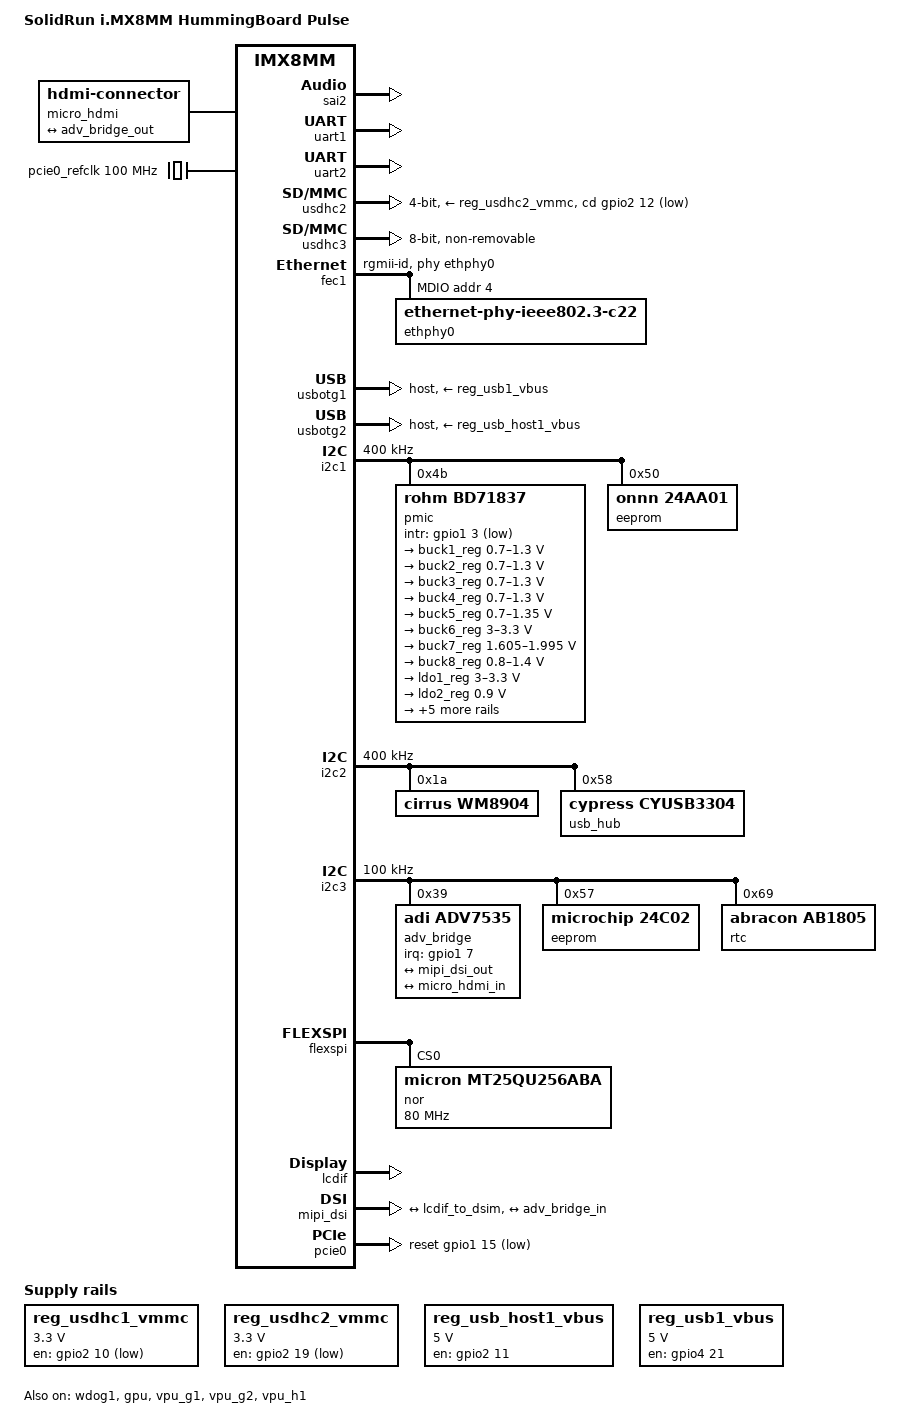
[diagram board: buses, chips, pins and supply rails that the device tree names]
// SPDX-License-Identifier: (GPL-2.0 OR MIT)
/*
 * Copyright (C) 2020 Josua Mayer <josua@solid-run.com>
 */

/dts-v1/;

#include "imx8mm.dtsi"

/ {
	model = "SolidRun i.MX8MM HummingBoard Pulse";
	compatible = "solidrun,hummingboard-pulse", "fsl,imx8mm";

	chosen {
		stdout-path = &uart2;
	};

	micro_hdmi: micro-hdmi {
		compatible = "hdmi-connector";
		type = "d";

		port@0 {
			micro_hdmi_in: endpoint {
				remote-endpoint = <&adv_bridge_out>;
			};
		};
	};

	pcie0_refclk: pcie0-refclk {
		compatible = "fixed-clock";
		#clock-cells = <0>;
		clock-frequency = <100000000>;
	};

	reg_usdhc1_vmmc: regulator-usdhc1-vmmc {
		compatible = "regulator-fixed";
		pinctrl-names = "default";
		pinctrl-0 = <&pinctrl_usdhc1_vmmc>;
		regulator-name = "usdhc1-vmmc";
		regulator-min-microvolt = <3300000>;
		regulator-max-microvolt = <3300000>;
		gpio = <&gpio2 10 GPIO_ACTIVE_LOW>;
		startup-delay-us = <100>;
		off-on-delay = <20000>;
	};

	reg_usdhc2_vmmc: regulator-usdhc2-vmmc {
		compatible = "regulator-fixed";
		pinctrl-names = "default";
		pinctrl-0 = <&pinctrl_usdhc2_vmmc>;
		regulator-name = "usdhc2-vmmc";
		regulator-min-microvolt = <3300000>;
		regulator-max-microvolt = <3300000>;
		gpio = <&gpio2 19 GPIO_ACTIVE_LOW>;
		off-on-delay = <20000>;
	};

	reg_usb_host1_vbus: reg-usb-host1-vbus {
		compatible = "regulator-fixed";
		regulator-name = "usb-host1-vbus";
		gpio = <&gpio2 11 GPIO_ACTIVE_HIGH>;
		enable-active-high;
		regulator-boot-on;
		pinctrl-names = "default";
		pinctrl-0 = <&pinctrl_usb_host1_vbus>;
		regulator-min-microvolt = <5000000>;
		regulator-max-microvolt = <5000000>;
	};

	reg_usb1_vbus: reg-usb1-vbus {
		compatible = "regulator-fixed";
		regulator-name = "usb1-vbus";
		gpio = <&gpio4 21 GPIO_ACTIVE_HIGH>;
		enable-active-high;
		regulator-boot-on;
		pinctrl-names = "default";
		pinctrl-0 = <&pinctrl_usb1_vbus>;
		regulator-min-microvolt = <5000000>;
		regulator-max-microvolt = <5000000>;
	};

	reserved-memory {
		#address-cells = <2>;
		#size-cells = <2>;
		ranges;

		rpmsg_reserved: rpmsg@0xb8000000 {
			no-map;
			reg = <0 0xb8000000 0 0x400000>;
		};
	};

	sound-wm8904 {
		compatible = "simple-audio-card";
		simple-audio-card,name = "wm8904-audio";
		simple-audio-card,format = "i2s";
		simple-audio-card,frame-master = <&sound_wm8904_cpu>;
		simple-audio-card,bitclock-master = <&sound_wm8904_cpu>;
		simple-audio-card,widgets =
			"Headphone", "Headphone Jack",
			"Microphone", "Headphone Jack";
		simple-audio-card,routing =
			"Headphone Jack", "HPOUTL",
			"Headphone Jack", "HPOUTR",
			"Headphone Jack", "MICBIAS",
			"IN2R", "Headphone Jack";

		sound_wm8904_cpu: simple-audio-card,cpu {
			sound-dai = <&sai2>;
			dai-tdm-slot-num = <2>;
			dai-tdm-slot-width = <16>;
		};

		sound_wm8904_codec: simple-audio-card,codec {
			sound-dai = <&wm8904>;
		};
	};
};

&iomuxc {
	pinctrl_wdog: wdoggrp {
		fsl,pins = <
			MX8MM_IOMUXC_GPIO1_IO02_WDOG1_WDOG_B		0xc6
		>;
	};

	pinctrl_uart1: uart1grp {
		fsl,pins = <
			MX8MM_IOMUXC_UART1_RXD_UART1_DCE_RX	0x140
			MX8MM_IOMUXC_UART1_TXD_UART1_DCE_TX	0x140
			MX8MM_IOMUXC_UART3_RXD_UART1_DCE_CTS_B	0x140
			MX8MM_IOMUXC_UART3_TXD_UART1_DCE_RTS_B	0x140
		>;
	};

	pinctrl_uart2: uart2grp {
		fsl,pins = <
			MX8MM_IOMUXC_UART2_RXD_UART2_DCE_RX	0x140
			MX8MM_IOMUXC_UART2_TXD_UART2_DCE_TX	0x140
		>;
	};

	pinctrl_usdhc1_vmmc: usdhc1vmmcgrp {
		fsl,pins = <
			MX8MM_IOMUXC_SD1_RESET_B_GPIO2_IO10	0x41
		>;
	};

	pinctrl_usdhc1: usdhc1grp {
		fsl,pins = <
			MX8MM_IOMUXC_SD1_CLK_USDHC1_CLK		0x190
			MX8MM_IOMUXC_SD1_CMD_USDHC1_CMD		0x1d0
			MX8MM_IOMUXC_SD1_DATA0_USDHC1_DATA0	0x1d0
			MX8MM_IOMUXC_SD1_DATA1_USDHC1_DATA1	0x1d0
			MX8MM_IOMUXC_SD1_DATA2_USDHC1_DATA2	0x1d0
			MX8MM_IOMUXC_SD1_DATA3_USDHC1_DATA3	0x1d0
		>;
	};

	pinctrl_usdhc1_100mhz: usdhc1100mhzgrp {
		fsl,pins = <
			MX8MM_IOMUXC_SD1_CLK_USDHC1_CLK		0x194
			MX8MM_IOMUXC_SD1_CMD_USDHC1_CMD		0x1d4
			MX8MM_IOMUXC_SD1_DATA0_USDHC1_DATA0	0x1d4
			MX8MM_IOMUXC_SD1_DATA1_USDHC1_DATA1	0x1d4
			MX8MM_IOMUXC_SD1_DATA2_USDHC1_DATA2	0x1d4
			MX8MM_IOMUXC_SD1_DATA3_USDHC1_DATA3	0x1d4
		>;
	};

	pinctrl_usdhc1_200mhz: usdhc1200mhzgrp {
		fsl,pins = <
			MX8MM_IOMUXC_SD1_CLK_USDHC1_CLK		0x196
			MX8MM_IOMUXC_SD1_CMD_USDHC1_CMD		0x1d6
			MX8MM_IOMUXC_SD1_DATA0_USDHC1_DATA0	0x1d6
			MX8MM_IOMUXC_SD1_DATA1_USDHC1_DATA1	0x1d6
			MX8MM_IOMUXC_SD1_DATA2_USDHC1_DATA2	0x1d6
			MX8MM_IOMUXC_SD1_DATA3_USDHC1_DATA3	0x1d6
		>;
	};

	pinctrl_usdhc2_cd: usdhc2cdgrp {
		fsl,pins = <
			MX8MM_IOMUXC_SD2_CD_B_GPIO2_IO12	0x1c4
		>;
	};

	pinctrl_usdhc2_vmmc: usdhc2vmmcgrp {
		fsl,pins = <
			MX8MM_IOMUXC_SD2_RESET_B_GPIO2_IO19	0x41
		>;
	};

	pinctrl_usdhc2: usdhc2grp {
		fsl,pins = <
			MX8MM_IOMUXC_SD2_CLK_USDHC2_CLK		0x190
			MX8MM_IOMUXC_SD2_CMD_USDHC2_CMD		0x1d0
			MX8MM_IOMUXC_SD2_DATA0_USDHC2_DATA0	0x1d0
			MX8MM_IOMUXC_SD2_DATA1_USDHC2_DATA1	0x1d0
			MX8MM_IOMUXC_SD2_DATA2_USDHC2_DATA2	0x1d0
			MX8MM_IOMUXC_SD2_DATA3_USDHC2_DATA3	0x1d0
			MX8MM_IOMUXC_GPIO1_IO04_USDHC2_VSELECT	0x1d0
		>;
	};

	pinctrl_usdhc2_100mhz: usdhc2100mhzgrp {
		fsl,pins = <
			MX8MM_IOMUXC_SD2_CLK_USDHC2_CLK		0x194
			MX8MM_IOMUXC_SD2_CMD_USDHC2_CMD		0x1d4
			MX8MM_IOMUXC_SD2_DATA0_USDHC2_DATA0	0x1d4
			MX8MM_IOMUXC_SD2_DATA1_USDHC2_DATA1	0x1d4
			MX8MM_IOMUXC_SD2_DATA2_USDHC2_DATA2	0x1d4
			MX8MM_IOMUXC_SD2_DATA3_USDHC2_DATA3	0x1d4
			MX8MM_IOMUXC_GPIO1_IO04_USDHC2_VSELECT	0x1d0
		>;
	};

	pinctrl_usdhc2_200mhz: usdhc2200mhzgrp {
		fsl,pins = <
			MX8MM_IOMUXC_SD2_CLK_USDHC2_CLK		0x196
			MX8MM_IOMUXC_SD2_CMD_USDHC2_CMD		0x1d6
			MX8MM_IOMUXC_SD2_DATA0_USDHC2_DATA0	0x1d6
			MX8MM_IOMUXC_SD2_DATA1_USDHC2_DATA1	0x1d6
			MX8MM_IOMUXC_SD2_DATA2_USDHC2_DATA2	0x1d6
			MX8MM_IOMUXC_SD2_DATA3_USDHC2_DATA3	0x1d6
			MX8MM_IOMUXC_GPIO1_IO04_USDHC2_VSELECT	0x1d0
		>;
	};

	pinctrl_usdhc3: usdhc3grp {
		fsl,pins = <
			MX8MM_IOMUXC_NAND_WE_B_USDHC3_CLK		0x190
			MX8MM_IOMUXC_NAND_WP_B_USDHC3_CMD		0x1d0
			MX8MM_IOMUXC_NAND_DATA04_USDHC3_DATA0		0x1d0
			MX8MM_IOMUXC_NAND_DATA05_USDHC3_DATA1		0x1d0
			MX8MM_IOMUXC_NAND_DATA06_USDHC3_DATA2		0x1d0
			MX8MM_IOMUXC_NAND_DATA07_USDHC3_DATA3		0x1d0
			MX8MM_IOMUXC_NAND_RE_B_USDHC3_DATA4		0x1d0
			MX8MM_IOMUXC_NAND_CE2_B_USDHC3_DATA5		0x1d0
			MX8MM_IOMUXC_NAND_CE3_B_USDHC3_DATA6		0x1d0
			MX8MM_IOMUXC_NAND_CLE_USDHC3_DATA7		0x1d0
			MX8MM_IOMUXC_NAND_CE1_B_USDHC3_STROBE 		0x190
		>;
	};

	pinctrl_usdhc3_100mhz: usdhc3grp100mhz {
		fsl,pins = <
			MX8MM_IOMUXC_NAND_WE_B_USDHC3_CLK		0x194
			MX8MM_IOMUXC_NAND_WP_B_USDHC3_CMD		0x1d4
			MX8MM_IOMUXC_NAND_DATA04_USDHC3_DATA0		0x1d4
			MX8MM_IOMUXC_NAND_DATA05_USDHC3_DATA1		0x1d4
			MX8MM_IOMUXC_NAND_DATA06_USDHC3_DATA2		0x1d4
			MX8MM_IOMUXC_NAND_DATA07_USDHC3_DATA3		0x1d4
			MX8MM_IOMUXC_NAND_RE_B_USDHC3_DATA4		0x1d4
			MX8MM_IOMUXC_NAND_CE2_B_USDHC3_DATA5		0x1d4
			MX8MM_IOMUXC_NAND_CE3_B_USDHC3_DATA6		0x1d4
			MX8MM_IOMUXC_NAND_CLE_USDHC3_DATA7		0x1d4
			MX8MM_IOMUXC_NAND_CE1_B_USDHC3_STROBE 		0x194
		>;
	};

	pinctrl_usdhc3_200mhz: usdhc3grp200mhz {
		fsl,pins = <
			MX8MM_IOMUXC_NAND_WE_B_USDHC3_CLK		0x196
			MX8MM_IOMUXC_NAND_WP_B_USDHC3_CMD		0x1d6
			MX8MM_IOMUXC_NAND_DATA04_USDHC3_DATA0		0x1d6
			MX8MM_IOMUXC_NAND_DATA05_USDHC3_DATA1		0x1d6
			MX8MM_IOMUXC_NAND_DATA06_USDHC3_DATA2		0x1d6
			MX8MM_IOMUXC_NAND_DATA07_USDHC3_DATA3		0x1d6
			MX8MM_IOMUXC_NAND_RE_B_USDHC3_DATA4		0x1d6
			MX8MM_IOMUXC_NAND_CE2_B_USDHC3_DATA5		0x1d6
			MX8MM_IOMUXC_NAND_CE3_B_USDHC3_DATA6		0x1d6
			MX8MM_IOMUXC_NAND_CLE_USDHC3_DATA7		0x1d6
			MX8MM_IOMUXC_NAND_CE1_B_USDHC3_STROBE 		0x196
		>;
	};

	pinctrl_fec1: fec1grp {
		fsl,pins = <
			MX8MM_IOMUXC_ENET_MDC_ENET1_MDC		0x3
			MX8MM_IOMUXC_ENET_MDIO_ENET1_MDIO	0x3
			MX8MM_IOMUXC_ENET_TD3_ENET1_RGMII_TD3	0x1f
			MX8MM_IOMUXC_ENET_TD2_ENET1_RGMII_TD2	0x1f
			MX8MM_IOMUXC_ENET_TD1_ENET1_RGMII_TD1	0x1f
			MX8MM_IOMUXC_ENET_TD0_ENET1_RGMII_TD0	0x1f
			MX8MM_IOMUXC_ENET_RD3_ENET1_RGMII_RD3	0x91
			MX8MM_IOMUXC_ENET_RD2_ENET1_RGMII_RD2	0x91
			MX8MM_IOMUXC_ENET_RD1_ENET1_RGMII_RD1	0x91
			MX8MM_IOMUXC_ENET_RD0_ENET1_RGMII_RD0	0x91
			MX8MM_IOMUXC_ENET_TXC_ENET1_RGMII_TXC	0x1f
			MX8MM_IOMUXC_ENET_RXC_ENET1_RGMII_RXC	0x91
			MX8MM_IOMUXC_ENET_RX_CTL_ENET1_RGMII_RX_CTL	0x91
			MX8MM_IOMUXC_ENET_TX_CTL_ENET1_RGMII_TX_CTL	0x1f
			MX8MM_IOMUXC_SAI2_RXC_GPIO4_IO22	0x19
		>;
	};

	pinctrl_usb_host1_vbus: usbhost1vbusgrp {
		fsl,pins = <
			MX8MM_IOMUXC_SD1_STROBE_GPIO2_IO11		0x03
		>;
	};

	pinctrl_usb1_vbus: usb1vbusgrp {
		fsl,pins = <
			MX8MM_IOMUXC_SAI2_RXFS_GPIO4_IO21		0x03
		>;
	};

	pinctrl_i2c1: i2c1grp {
		fsl,pins = <
			MX8MM_IOMUXC_I2C1_SCL_I2C1_SCL			0x400001c3
			MX8MM_IOMUXC_I2C1_SDA_I2C1_SDA			0x400001c3
		>;
	};

	pinctrl_i2c2: i2c2grp {
		fsl,pins = <
			MX8MM_IOMUXC_I2C2_SCL_I2C2_SCL			0x400001c3
			MX8MM_IOMUXC_I2C2_SDA_I2C2_SDA			0x400001c3
		>;
	};

	pinctrl_i2c3: i2c3grp {
		fsl,pins = <
			MX8MM_IOMUXC_I2C3_SCL_I2C3_SCL			0x400001c3
			MX8MM_IOMUXC_I2C3_SDA_I2C3_SDA			0x400001c3
		>;
	};

	pinctrl_i2c3_dsi_ts_int: i2c3dsitsintgrp {
		fsl,pins = <
			MX8MM_IOMUXC_GPIO1_IO07_GPIO1_IO7		0x19
		>;
	};

	pinctrl_pmic: pmicirq {
		fsl,pins = <
			MX8MM_IOMUXC_GPIO1_IO03_GPIO1_IO3		0x41
		>;
	};

	pinctrl_flexspi0: flexspi0grp {
		fsl,pins = <
			MX8MM_IOMUXC_NAND_ALE_QSPI_A_SCLK		0x1c2
			MX8MM_IOMUXC_NAND_CE0_B_QSPI_A_SS0_B		0x82
			MX8MM_IOMUXC_NAND_DATA00_QSPI_A_DATA0		0x82
			MX8MM_IOMUXC_NAND_DATA01_QSPI_A_DATA1		0x82
			MX8MM_IOMUXC_NAND_DATA02_QSPI_A_DATA2		0x82
			MX8MM_IOMUXC_NAND_DATA03_QSPI_A_DATA3		0x82
		>;
	};

	pinctrl_pcie0: pcie0grp {
		fsl,pins = <
			MX8MM_IOMUXC_UART4_RXD_PCIE1_CLKREQ_B	0x61 /* open drain, pull up */
			MX8MM_IOMUXC_GPIO1_IO05_GPIO1_IO5	0x41 /* disable-gpio */
			MX8MM_IOMUXC_GPIO1_IO15_GPIO1_IO15	0x41 /* reset-gpio */
		>;
	};

	pinctrl_pcie1: pcie1grp {
		fsl,pins = <
			MX8MM_IOMUXC_UART4_TXD_PCIE2_CLKREQ_B	0x61 /* open drain, pull up */
			/* TODO: reset-gpio */
			/* TODO: disable-gpio */
		>;
	};

	pinctrl_sai2: sai2grp {
		fsl,pins = <
			MX8MM_IOMUXC_SAI2_TXFS_SAI2_TX_SYNC     0xd6
			MX8MM_IOMUXC_SAI2_TXC_SAI2_TX_BCLK      0xd6
			MX8MM_IOMUXC_SAI2_MCLK_SAI2_MCLK        0xd6
			MX8MM_IOMUXC_SAI2_TXD0_SAI2_TX_DATA0    0xd6
			MX8MM_IOMUXC_SAI2_RXD0_SAI2_RX_DATA0    0xd6
		>;
	};
};

/* linked to wm8904 codec */ 
&sai2 {
	#sound-dai-cells = <0>;
	pinctrl-names = "default";
	pinctrl-0 = <&pinctrl_sai2>;
	assigned-clocks = <&clk IMX8MM_CLK_SAI2>;
	assigned-clock-parents = <&clk IMX8MM_AUDIO_PLL1_OUT>;
	assigned-clock-rates = <24576000>;
	status = "okay";
};

/* bluetooth */
&uart1 { 
	pinctrl-names = "default";
	pinctrl-0 = <&pinctrl_uart1>;
	assigned-clocks = <&clk IMX8MM_CLK_UART1>;
	assigned-clock-parents = <&clk IMX8MM_SYS_PLL1_80M>;
	fsl,uart-has-rtscts;
	status = "okay";
};

/* console */
&uart2 {
	pinctrl-names = "default";
	pinctrl-0 = <&pinctrl_uart2>;
	status = "okay";
};

&wdog1 {
	pinctrl-names = "default";
	pinctrl-0 = <&pinctrl_wdog>;
	fsl,ext-reset-output;
	status = "okay";
};

/* wifi (optional) */
&usdhc1 {
	pinctrl-names = "default", "state_100mhz", "state_200mhz";
	pinctrl-0 = <&pinctrl_usdhc1>;
	pinctrl-1 = <&pinctrl_usdhc1_100mhz>;
	pinctrl-2 = <&pinctrl_usdhc1_200mhz>;
	bus-width = <4>;
	vmmc-supply = <&reg_usdhc1_vmmc>;
	non-removable;
	status = "disabled";
};

/* microSD */
&usdhc2 {
	pinctrl-names = "default", "state_100mhz", "state_200mhz";
	pinctrl-0 = <&pinctrl_usdhc2>, <&pinctrl_usdhc2_cd>;
	pinctrl-1 = <&pinctrl_usdhc2_100mhz>, <&pinctrl_usdhc2_cd>;
	pinctrl-2 = <&pinctrl_usdhc2_200mhz>, <&pinctrl_usdhc2_cd>;
	cd-gpios = <&gpio2 12 GPIO_ACTIVE_LOW>;
	bus-width = <4>;
	vmmc-supply = <&reg_usdhc2_vmmc>;
	status = "okay";
};

/* eMMC */
&usdhc3 {
	pinctrl-names = "default", "state_100mhz", "state_200mhz";
	pinctrl-0 = <&pinctrl_usdhc3>;
	pinctrl-1 = <&pinctrl_usdhc3_100mhz>;
	pinctrl-2 = <&pinctrl_usdhc3_200mhz>;
	bus-width = <8>;
	non-removable;
	status = "okay";
};

&fec1 {
	pinctrl-names = "default";
	pinctrl-0 = <&pinctrl_fec1>;
	phy-mode = "rgmii-id";
	phy-handle = <&ethphy0>;
	fsl,magic-packet;
	status = "okay";

	mdio {
		#address-cells = <1>;
		#size-cells = <0>;

		ethphy0: ethernet-phy@4 {
			compatible = "ethernet-phy-ieee802.3-c22";
			reg = <4>;
			at803x,led-act-blind-workaround;
			at803x,eee-okay;
			at803x,vddio-1p8v;
		};
	};
};

&usbotg1 {
	dr_mode = "host";
	vbus-supply = <&reg_usb1_vbus>;
	status = "okay";
};

&usbotg2 {
	dr_mode = "host";
	vbus-supply = <&reg_usb_host1_vbus>;
	status = "okay";
};

&i2c1 {
	clock-frequency = <400000>;
	pinctrl-names = "default";
	pinctrl-0 = <&pinctrl_i2c1>;
	status = "okay";

	pmic@4b {
		compatible = "rohm,bd71837";
		reg = <0x4b>;
		pinctrl-0 = <&pinctrl_pmic>;
		gpio_intr = <&gpio1 3 GPIO_ACTIVE_LOW>;

		gpo {
			rohm,drv = <0x0C>;	/* 0b0000_1100 all gpos with cmos output mode */
		};

		regulators {
			#address-cells = <1>;
			#size-cells = <0>;

			bd71837,pmic-buck2-uses-i2c-dvs;
			bd71837,pmic-buck2-dvs-voltage = <1000000>, <900000>, <0>; /* VDD_ARM: Run-Idle */

			buck1_reg: regulator@0 {
				reg = <0>;
				regulator-compatible = "buck1";
				regulator-min-microvolt = <700000>;
				regulator-max-microvolt = <1300000>;
				regulator-boot-on;
				regulator-always-on;
				regulator-ramp-delay = <1250>;
			};

			buck2_reg: regulator@1 {
				reg = <1>;
				regulator-compatible = "buck2";
				regulator-min-microvolt = <700000>;
				regulator-max-microvolt = <1300000>;
				regulator-boot-on;
				regulator-always-on;
				regulator-ramp-delay = <1250>;
			};

			buck3_reg: regulator@2 {
				reg = <2>;
				regulator-compatible = "buck3";
				regulator-min-microvolt = <700000>;
				regulator-max-microvolt = <1300000>;
			};

			buck4_reg: regulator@3 {
				reg = <3>;
				regulator-compatible = "buck4";
				regulator-min-microvolt = <700000>;
				regulator-max-microvolt = <1300000>;
			};

			buck5_reg: regulator@4 {
				reg = <4>;
				regulator-compatible = "buck5";
				regulator-min-microvolt = <700000>;
				regulator-max-microvolt = <1350000>;
			};

			buck6_reg: regulator@5 {
				reg = <5>;
				regulator-compatible = "buck6";
				regulator-min-microvolt = <3000000>;
				regulator-max-microvolt = <3300000>;
				regulator-boot-on;
				regulator-always-on;
			};

			buck7_reg: regulator@6 {
				reg = <6>;
				regulator-compatible = "buck7";
				regulator-min-microvolt = <1605000>;
				regulator-max-microvolt = <1995000>;
				regulator-boot-on;
				regulator-always-on;
			};

			buck8_reg: regulator@7 {
				reg = <7>;
				regulator-compatible = "buck8";
				regulator-min-microvolt = <800000>;
				regulator-max-microvolt = <1400000>;
				regulator-boot-on;
				regulator-always-on;
			};

			ldo1_reg: regulator@8 {
				reg = <8>;
				regulator-compatible = "ldo1";
				regulator-min-microvolt = <3000000>;
				regulator-max-microvolt = <3300000>;
				regulator-boot-on;
				regulator-always-on;
			};

			ldo2_reg: regulator@9 {
				reg = <9>;
				regulator-compatible = "ldo2";
				regulator-min-microvolt = <900000>;
				regulator-max-microvolt = <900000>;
				regulator-boot-on;
				regulator-always-on;
			};

			ldo3_reg: regulator@10 {
				reg = <10>;
				regulator-compatible = "ldo3";
				regulator-min-microvolt = <1800000>;
				regulator-max-microvolt = <3300000>;
				regulator-boot-on;
				regulator-always-on;
			};

			ldo4_reg: regulator@11 {
				reg = <11>;
				regulator-compatible = "ldo4";
				regulator-min-microvolt = <900000>;
				regulator-max-microvolt = <1800000>;
			};

			ldo5_reg: regulator@12 {
				reg = <12>;
				regulator-compatible = "ldo5";
				regulator-min-microvolt = <1800000>;
				regulator-max-microvolt = <3300000>;
			};

			ldo6_reg: regulator@13 {
				reg = <13>;
				regulator-compatible = "ldo6";
				regulator-min-microvolt = <900000>;
				regulator-max-microvolt = <1800000>;
				regulator-boot-on;
				regulator-always-on;
			};

			ldo7_reg: regulator@14 {
				reg = <14>;
				regulator-compatible = "ldo7";
				regulator-min-microvolt = <1800000>;
				regulator-max-microvolt = <3300000>;
			};
		};
	};

	eeprom@50 {
		compatible = "onnn,24aa01", "atmel,24c02";
		reg = <0x50>;
		pagesize = <16>;
	};
};

&i2c2 {
	clock-frequency = <400000>;
	pinctrl-names = "default";
	pinctrl-0 = <&pinctrl_i2c2>;
	status = "okay";

	wm8904: codec@1a {
		#sound-dai-cells = <0>;
		compatible = "cirrus,wm8904", "wlf,wm8904";
		reg = <0x1a>;
		clocks = <&clk IMX8MM_CLK_SAI2_ROOT>;
		clock-names = "mclk";
		status = "okay";
	};

	usb_hub@58 {
		compatible = "cypress,cyusb3304";
		reg = <0x58>;
	};
};

&i2c3 {
	clock-frequency = <100000>;
	pinctrl-names = "default";
	pinctrl-0 = <&pinctrl_i2c3>;
	status = "okay";

	adv_bridge: adv7535@39 {
		compatible = "adi,adv7535";
		reg = <0x39>;
		adi,addr-cec = <0x3c>;
		adi,dsi-lanes = <4>;
		adi,addr-edid = <0x3b>;
		pinctrl-0 = <&pinctrl_i2c3_dsi_ts_int>;
		interrupt-parent = <&gpio1>;
		interrupts = <7 IRQ_TYPE_LEVEL_LOW>;
		status = "okay";

		ports {
			#address-cells = <1>;
			#size-cells = <0>;

			port@0 {
				reg = <0>;
				adv_bridge_in: endpoint {
					remote-endpoint = <&mipi_dsi_out>;
				};
			};

			port@1 {
				reg = <1>;
				adv_bridge_out: endpoint {
					remote-endpoint = <&micro_hdmi_in>;
				};
			};
		};
	};

	eeprom@57 {
		compatible = "microchip,24c02", "atmel,24c02";
		reg = <0x57>;
		pagesize = <16>;
	};

	rtc: am1805aq@69 {
		compatible = "abracon,ab1805";
		reg = <0x69>;
		abracon,tc-diode = "schottky";
		abracon,tc-resistor = <3>;
	};
};

&flexspi {
	pinctrl-names = "default";
	pinctrl-0 = <&pinctrl_flexspi0>;
	status = "okay";

	nor@0 {
		compatible = "micron,mt25qu256aba";
		reg = <0>;
		#address-cells = <1>;
		#size-cells = <1>;
		spi-max-frequency = <80000000>;
		spi-nor,ddr-quad-read-dummy = <6>;
	};
};

&gpu {
	status = "okay";
};

&lcdif {
	status = "okay";
	//max-memory-bandwidth = <187500000>; /* 1.5Gbps in Bps, according to Reference Manual */
};

&lcdif_to_dsim {
	remote-endpoint = <&mipi_dsi_in>;
};

&mipi_dsi {
	status = "okay";

	/delete-node/ port@0;
	ports {
		#address-cells = <1>;
		#size-cells = <0>;

		port@0 {
			reg = <0>;
			mipi_dsi_in: endpoint {
				remote-endpoint = <&lcdif_to_dsim>;
			};
		};

		port@1 {
			reg = <1>;
			mipi_dsi_out: endpoint {
				remote-endpoint = <&adv_bridge_in>;
				attach-bridge;
			};
		};
	};
};

/* connected to on-Carrier i210 ethernet controller */
&pcie0 {
	pinctrl-names = "default";
	pinctrl-0 = <&pinctrl_pcie0>;
	disable-gpio = <&gpio1 5 GPIO_ACTIVE_LOW>;
	reset-gpio = <&gpio1 15 GPIO_ACTIVE_LOW>;
	clocks = <&clk IMX8MM_CLK_PCIE1_ROOT>,
		 <&clk IMX8MM_CLK_PCIE1_AUX>,
		 <&clk IMX8MM_CLK_PCIE1_PHY>,
		 <&pcie0_refclk>;
	clock-names = "pcie", "pcie_aux", "pcie_phy", "pcie_bus";
	reserved-region = <&rpmsg_reserved>;
	ext_osc = <0>;
	hard-wired = <1>;
	status = "okay";
};

&vpu_g1 {
	status = "okay";
};

&vpu_g2 {
	status = "okay";
};

&vpu_h1 {
	status = "okay";
};
